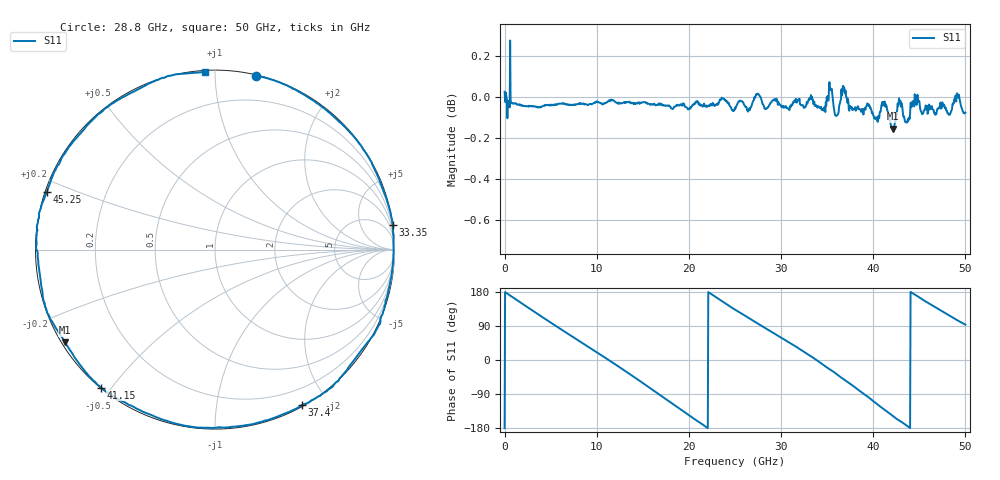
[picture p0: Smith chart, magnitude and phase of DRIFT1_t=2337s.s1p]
!Created with skrf (http://scikit-rf.org).
# Hz S RI R 50.0
!freq ReS11 ImS11
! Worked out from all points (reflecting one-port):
!   1001 points, 300 kHz to 50 GHz, reference 50 ohm
!   lowest |S11| = -0.2 dB at 42.15 GHz (marker M1), VSWR 112.44, Z = 0.481 - j14.2 ohm
!   phase of S11 starts at -180 deg and turns -807 deg over the sweep
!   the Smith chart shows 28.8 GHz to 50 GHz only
!   S11 on the Smith chart (normalised r, x): 28.8 GHz: 0.01, +1.26; 33.35 GHz: -0, +14; 37.4 GHz: 0.02, -1.70; 41.15 GHz: 0.00, -0.47; 45.25 GHz: 0.00, +0.17; 50 GHz: 0.01, +0.95
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300000  -1.003 -0.00344
1.65029e9  -0.8867 0.4521
3.450279e9  -0.5506 0.8282
6.250262e9  0.1895 0.9781
9.600242e9  0.8898 0.4482
1.250022e10  0.9397 -0.332
1.400022e10  0.7163 -0.6921
1.580021e10  0.2718 -0.9577
1.72502e10  -0.156 -0.9829
1.875019e10  -0.5698 -0.8164
2.040018e10  -0.8848 -0.4565
2.185017e10  -0.9925 -0.0615
2.345016e10  -0.9226 0.3809
2.500015e10  -0.6746 0.73
2.705014e10  -0.2127 0.9752
2.880013e10  0.2269 0.9697
3.125011e10  0.754 0.6503
3.33501e10  0.9904 0.1384
3.540009e10  0.8987 -0.4471
3.740008e10  0.4831 -0.8667
3.750008e10  0.4529 -0.8859
3.935006e10  -0.1009 -0.9912
4.115005e10  -0.6347 -0.7689
4.215005e10  -0.8352 -0.5172
4.375004e10  -0.9844 -0.0786
4.525003e10  -0.9385 0.3191
4.760001e10  -0.5946 0.7976
5e10  -0.055 0.9896
